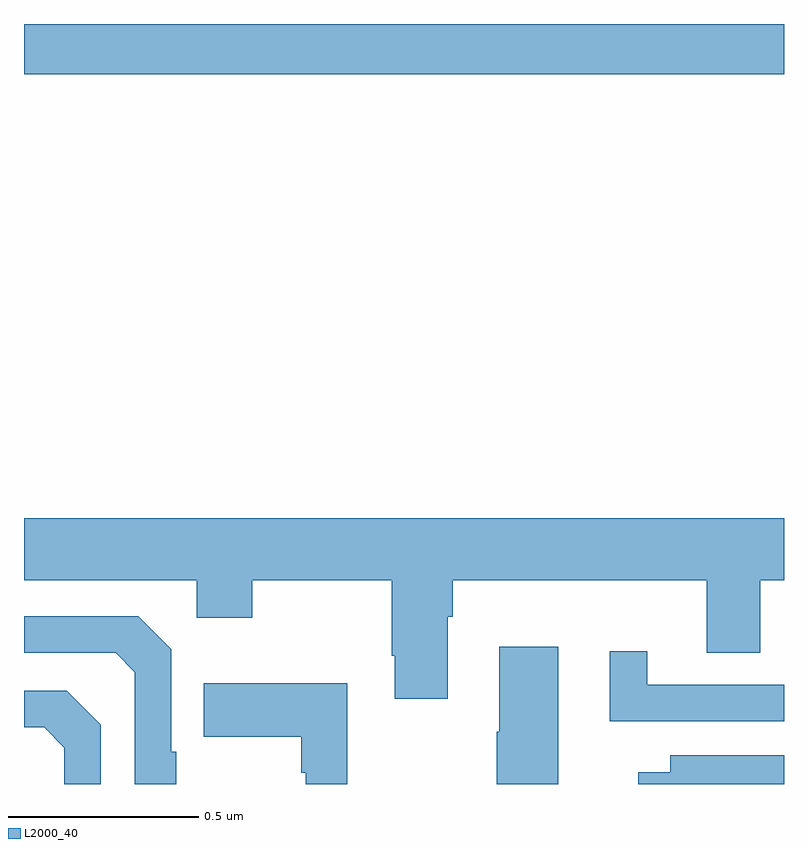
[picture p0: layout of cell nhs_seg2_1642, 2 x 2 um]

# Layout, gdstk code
import gdstk
lib = gdstk.Library(unit=1e-6, precision=1e-09)
def R(c, l, rs):  # rectangles x0, y0, x1, y1
    for r in rs: c.add(gdstk.rectangle(r[:2], r[2:], *l))
def P(c, l, *ps):  # polygons
    for p in ps: c.add(gdstk.Polygon(p, *l))
L2000_40 = (2000, 40)

nhs_seg2_1642 = lib.new_cell('nhs_seg2_1642')
R(nhs_seg2_1642, L2000_40, [(131,615.668,133,615.8)])
P(nhs_seg2_1642, L2000_40, [(132.115,614.24),(132.128,614.24),(132.128,614.336),(132.797,614.336),(132.797,614.146),(132.937,614.146),(132.937,614.336),(133,614.336),(133,614.5),(131,614.5),(131,614.336),(131.454,614.336),(131.454,614.237),(131.601,614.237),(131.601,614.336),(131.968,614.336),(131.968,614.137),(131.975,614.137),(131.975,614.025),(132.115,614.025)],
  [(131.401,613.885),(131.388,613.885),(131.388,614.154),(131.301,614.241),(131,614.241),(131,614.145),(131.241,614.145),(131.292,614.094),(131.292,613.8),(131.401,613.8)],
  [(132.406,614.161),(132.251,614.161),(132.251,613.937),(132.244,613.937),(132.244,613.8),(132.406,613.8)],
  [(133,614.061),(132.64,614.061),(132.64,614.149),(132.542,614.149),(132.542,613.965),(133,613.965)],
  [(131.851,614.065),(131.473,614.065),(131.473,613.925),(131.73,613.925),(131.73,613.829),(131.742,613.829),(131.742,613.8),(131.851,613.8)],
  [(131.202,613.956),(131.112,614.046),(131,614.046),(131,613.949),(131.053,613.949),(131.106,613.896),(131.106,613.8),(131.202,613.8)],
  [(133,613.876),(132.701,613.876),(132.701,613.831),(132.617,613.831),(132.617,613.8),(133,613.8)])

lib.write_gds('nhs_seg2_1642.gds')
